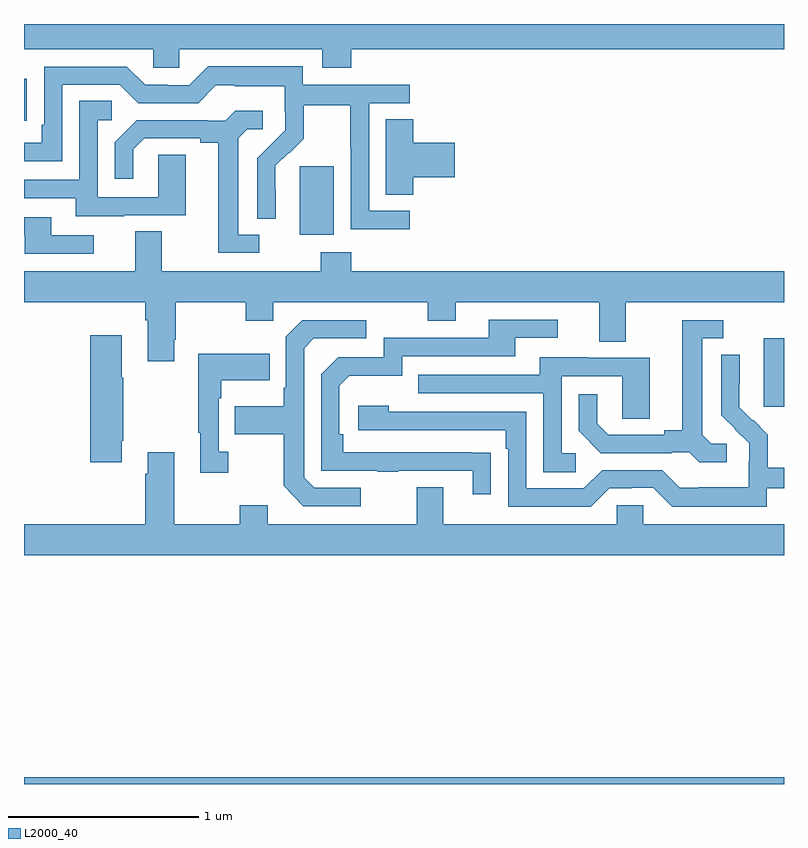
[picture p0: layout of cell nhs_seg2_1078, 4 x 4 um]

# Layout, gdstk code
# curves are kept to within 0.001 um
import gdstk
lib = gdstk.Library(unit=1e-6, precision=1e-09)
def R(c, l, rs):  # rectangles x0, y0, x1, y1
    for r in rs: c.add(gdstk.rectangle(r[:2], r[2:], *l))
def P(c, l, *ps):  # polygons
    for p in ps: c.add(gdstk.Polygon(p, *l))
L2000_40 = (2000, 40)

nhs_seg2_1078 = lib.new_cell('nhs_seg2_1078')
R(nhs_seg2_1078, L2000_40, [(167,611.8,171,611.836), (170.894,613.785,171,614.146), (168.452,614.69,168.631,615.051), (167,615.292,167.015,615.511)])
P(nhs_seg2_1078, L2000_40, [(168.722,615.668),(171,615.668),(171,615.8),(167,615.8),(167,615.668),(167.679,615.668),(167.679,615.57),(167.817,615.57),(167.817,615.668),(168.569,615.668),(168.569,615.569),(168.722,615.569)],
  [(169.03,614.817),(168.816,614.817),(168.816,615.384),(169.03,615.384),(169.03,615.48),(168.468,615.48),(168.468,615.577),(167.971,615.577),(167.871,615.477),(167.756,615.477),(167.756,615.48),(167.637,615.48),(167.541,615.576),(167.106,615.576),(167.106,615.271),(167.093,615.271),(167.093,615.174),(167,615.174),(167,615.078),(167.202,615.078),(167.202,615.48),(167.505,615.48),(167.601,615.384),(167.916,615.384),(168.009,615.477),(168.109,615.477),(168.109,615.473),(168.372,615.473),(168.372,615.339),(168.374,615.339),(168.374,615.242),(168.228,615.094),(168.228,614.776),(168.324,614.776),(168.323,615.053),(168.393,615.123),(168.396,615.12),(168.473,615.197),(168.473,615.372),(168.718,615.372),(168.718,615.148),(168.72,615.148),(168.72,614.719),(169.03,614.719)],
  [(167.527,614.793),(167.851,614.793),(167.851,615.113),(167.706,615.113),(167.706,614.889),(167.388,614.889),(167.388,615.294),(167.461,615.294),(167.461,615.395),(167.292,615.395),(167.292,614.979),(167,614.979),(167,614.883),(167.273,614.883),(167.273,614.789),(167.527,614.789)],
  [(168.238,614.691),(168.127,614.691),(168.127,615.199),(168.174,615.246),(168.256,615.246),(168.256,615.343),(168.112,615.343),(168.06,615.291),(167.966,615.291),(167.966,615.294),(167.594,615.294),(167.478,615.178),(167.478,614.985),(167.575,614.985),(167.575,615.141),(167.632,615.198),(167.927,615.198),(167.927,615.176),(168.023,615.176),(168.023,614.595),(168.238,614.595)],
  [(169.049,614.993),(169.267,614.993),(169.267,615.176),(169.049,615.176),(169.049,615.299),(168.905,615.299),(168.905,614.902),(169.049,614.902)],
  [(167.368,614.688),(167.143,614.688),(167.143,614.784),(167,614.784),(167,614.688),(167.003,614.688),(167.003,614.592),(167.368,614.592)],
  [(167.791,614.137),(167.799,614.137),(167.799,614.336),(168.166,614.336),(168.166,614.237),(168.312,614.237),(168.312,614.336),(169.126,614.336),(169.126,614.237),(169.273,614.237),(169.273,614.336),(170.027,614.336),(170.027,614.128),(170.167,614.128),(170.167,614.336),(171,614.336),(171,614.5),(168.722,614.5),(168.722,614.599),(168.562,614.599),(168.562,614.5),(167.725,614.5),(167.725,614.708),(167.585,614.708),(167.585,614.5),(167,614.5),(167,614.336),(167.639,614.336),(167.639,614.24),(167.651,614.24),(167.651,614.025),(167.791,614.025)],
  [(169.457,613.544),(168.68,613.545),(168.68,613.642),(168.66,613.642),(168.66,613.896),(168.713,613.949),(168.99,613.949),(168.99,614.052),(169.585,614.052),(169.585,614.148),(169.81,614.148),(169.81,614.244),(169.445,614.244),(169.445,614.148),(168.894,614.148),(168.894,614.046),(168.654,614.046),(168.564,613.956),(168.564,613.449),(168.859,613.449),(168.859,613.444),(168.971,613.444),(168.971,613.449),(169.361,613.449),(169.361,613.326),(169.457,613.326)],
  [(168.772,613.359),(168.528,613.359),(168.474,613.413),(168.474,614.094),(168.525,614.145),(168.802,614.145),(168.802,614.241),(168.465,614.241),(168.378,614.154),(168.378,613.885),(168.366,613.885),(168.366,613.789),(168.109,613.789),(168.109,613.642),(168.366,613.642),(168.366,613.369),(168.471,613.263),(168.772,613.263)],
  [(170.698,613.59),(170.616,613.59),(170.569,613.637),(170.569,614.145),(170.68,614.145),(170.68,614.241),(170.465,614.241),(170.465,613.661),(170.369,613.661),(170.369,613.638),(170.074,613.638),(170.017,613.695),(170.017,613.852),(169.92,613.852),(169.92,613.658),(170.036,613.542),(170.408,613.542),(170.408,613.545),(170.502,613.545),(170.554,613.493),(170.698,613.493)],
  [(167.515,613.606),(167.523,613.606),(167.523,613.937),(167.515,613.937),(167.515,614.161),(167.348,614.161),(167.348,613.494),(167.515,613.494)],
  [(168.076,613.55),(168.024,613.55),(168.024,613.829),(168.037,613.829),(168.037,613.925),(168.293,613.925),(168.293,614.065),(167.916,614.065),(167.916,613.649),(167.927,613.649),(167.927,613.437),(168.076,613.437)],
  [(170.91,613.356),(171,613.356),(171,613.465),(170.915,613.465),(170.915,613.639),(170.838,613.716),(170.835,613.713),(170.765,613.784),(170.766,614.06),(170.67,614.06),(170.67,613.742),(170.816,613.594),(170.816,613.497),(170.814,613.497),(170.814,613.363),(170.551,613.363),(170.551,613.359),(170.451,613.359),(170.358,613.452),(170.043,613.452),(169.947,613.356),(169.644,613.356),(169.644,613.758),(168.92,613.758),(168.92,613.792),(168.759,613.792),(168.759,613.662),(169.535,613.662),(169.535,613.565),(169.548,613.565),(169.548,613.26),(169.983,613.26),(170.079,613.356),(170.198,613.356),(170.198,613.359),(170.313,613.359),(170.413,613.259),(170.91,613.259)],
  [(169.903,613.542),(169.83,613.542),(169.83,613.947),(170.148,613.947),(170.148,613.723),(170.293,613.723),(170.293,614.043),(169.969,614.043),(169.969,614.047),(169.715,614.047),(169.715,613.953),(169.075,613.953),(169.075,613.857),(169.734,613.857),(169.734,613.441),(169.903,613.441)],
  [(171,613.168),(170.259,613.168),(170.259,613.266),(170.121,613.266),(170.121,613.168),(169.207,613.168),(169.207,613.363),(169.067,613.363),(169.067,613.168),(168.283,613.168),(168.283,613.267),(168.136,613.267),(168.136,613.168),(167.791,613.168),(167.791,613.546),(167.651,613.546),(167.651,613.433),(167.639,613.433),(167.639,613.168),(167,613.168),(167,613.004),(171,613.004)])

lib.write_gds('nhs_seg2_1078.gds')
